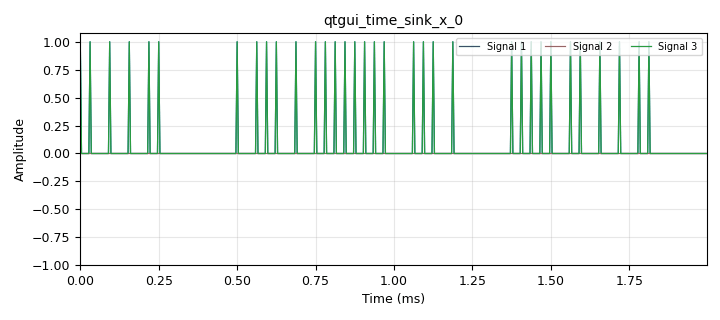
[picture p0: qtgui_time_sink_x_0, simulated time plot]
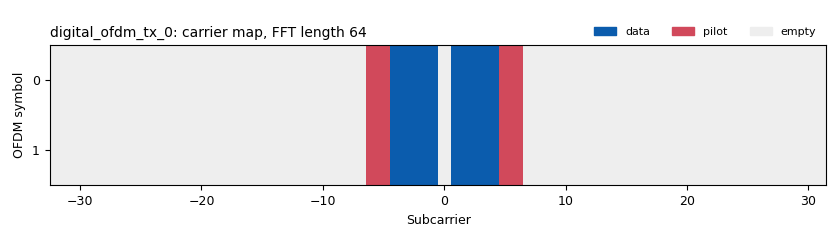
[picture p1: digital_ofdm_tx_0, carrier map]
options:
  parameters:
    description: OFDM Loopback Measurement
    generate_options: qt_gui
    id: OFDM_loopback_BER
    output_language: python
    title: OFDM_loopback_BER
  states: {}

blocks:
- name: delay
  id: variable_qtgui_range
  parameters:
    label: Delay
    start: '0'
    step: '1'
    stop: 1e3
    value: '100'
  states: {}
- name: fft_len
  id: variable
  parameters:
    value: '64'
  states: {}
- name: freq_offset
  id: variable_qtgui_range
  parameters:
    label: Frequency Offset
    start: '-100e-3'
    step: '1e-3'
    stop: '100e-3'
    value: '0'
  states: {}
- name: len_tag_key
  id: variable
  parameters:
    value: '"packet_len"'
  states: {}
- name: noise_volt
  id: variable_qtgui_range
  parameters:
    label: Noise Voltage
    start: '0'
    step: '10e-3'
    stop: '1'
    value: '0'
  states: {}
- name: packet_len
  id: variable
  parameters:
    value: '50'
  states: {}
- name: samp_rate
  id: variable
  parameters:
    value: 256e3
  states: {}
- name: taps
  id: variable
  parameters:
    value: '1'
  states: {}
- name: time_offset
  id: variable_qtgui_range
  parameters:
    label: Timing Offset
    start: '999e-3'
    step: '100e-6'
    stop: '1001e-3'
    value: '1'
  states: {}
- name: analog_random_source_x_0
  id: analog_random_source_x
  parameters:
    max: '2'
    min: '0'
    num_samps: packet_len
    repeat: 'True'
    type: byte
  states: {}
- name: blocks_delay_0
  id: blocks_delay
  parameters:
    delay: delay
    type: byte
  states: {}
- name: blocks_repack_bits_bb_0
  id: blocks_repack_bits_bb
  parameters:
    endianness: gr.GR_LSB_FIRST
    k: '8'
    l: '1'
  states: {}
- name: blocks_repack_bits_bb_1
  id: blocks_repack_bits_bb
  parameters:
    endianness: gr.GR_LSB_FIRST
    k: '8'
    l: '1'
  states: {}
- name: blocks_stream_to_tagged_stream_0
  id: blocks_stream_to_tagged_stream
  parameters:
    len_tag_key: len_tag_key
    packet_len: '50'
    type: byte
  states: {}
- name: blocks_sub_xx_0
  id: blocks_sub_xx
  parameters:
    type: float
  states: {}
- name: blocks_throttle2_0
  id: blocks_throttle2
  parameters:
    samples_per_second: samp_rate
    type: complex
  states: {}
- name: blocks_uchar_to_float_0
  id: blocks_uchar_to_float
  parameters: {}
  states: {}
- name: blocks_uchar_to_float_1
  id: blocks_uchar_to_float
  parameters: {}
  states: {}
- name: channels_channel_model_0
  id: channels_channel_model
  parameters:
    block_tags: 'True'
    epsilon: time_offset
    freq_offset: freq_offset * 1.0/fft_len
    noise_voltage: noise_volt
    seed: '0'
    taps: taps
  states: {}
- name: digital_ofdm_rx_0
  id: digital_ofdm_rx
  parameters:
    cp_len: fft_len//4
    fft_len: fft_len
    header_mod: '"BPSK"'
    occupied_carriers: ((-4,-3,-2,-1,1,2,3,4),)
    packet_len_key: '"rx_len"'
    payload_mod: '"QPSK"'
    pilot_carriers: ((-6,-5,5,6),)
    pilot_symbols: ((-1,1,-1,1),)
    sync_word1: None
    sync_word2: None
  states: {}
- name: digital_ofdm_tx_0
  id: digital_ofdm_tx
  parameters:
    cp_len: fft_len//4
    fft_len: fft_len
    header_mod: '"BPSK"'
    occupied_carriers: ((-4,-3,-2,-1,1,2,3,4),)
    packet_len_key: len_tag_key
    payload_mod: '"QPSK"'
    pilot_carriers: ((-6,-5,5,6),)
    pilot_symbols: ((-1,1,-1,1),)
    rolloff: '0'
    sync_word1: None
    sync_word2: None
  states: {}
- name: fec_ber_bf_0
  id: fec_ber_bf
  parameters:
    test_mode: 'False'
  states: {}
- name: qtgui_number_sink_0
  id: qtgui_number_sink
  parameters:
    autoscale: 'True'
    graph_type: qtgui.NUM_GRAPH_HORIZ
    name: BER
    type: float
  states: {}
- name: qtgui_time_sink_x_0
  id: qtgui_time_sink_x
  parameters:
    ctrlpanel: 'True'
    nconnections: '3'
    size: '512'
    srate: samp_rate
    type: float
  states: {}
- name: virtual_sink_0
  id: virtual_sink
  parameters:
    stream_id: t1
  states: {}
- name: virtual_sink_1
  id: virtual_sink
  parameters:
    stream_id: t2
  states: {}
- name: virtual_source_0
  id: virtual_source
  parameters:
    stream_id: t2
  states: {}
- name: virtual_source_1
  id: virtual_source
  parameters:
    stream_id: t1
  states: {}

connections:
- [analog_random_source_x_0, '0', blocks_stream_to_tagged_stream_0, '0']
- [analog_random_source_x_0, '0', virtual_sink_0, '0']
- [blocks_delay_0, '0', blocks_repack_bits_bb_1, '0']
- [blocks_delay_0, '0', fec_ber_bf_0, '1']
- [blocks_repack_bits_bb_0, '0', blocks_uchar_to_float_0, '0']
- [blocks_repack_bits_bb_1, '0', blocks_uchar_to_float_1, '0']
- [blocks_stream_to_tagged_stream_0, '0', digital_ofdm_tx_0, '0']
- [blocks_sub_xx_0, '0', qtgui_time_sink_x_0, '1']
- [blocks_throttle2_0, '0', channels_channel_model_0, '0']
- [blocks_uchar_to_float_0, '0', blocks_sub_xx_0, '0']
- [blocks_uchar_to_float_0, '0', qtgui_time_sink_x_0, '0']
- [blocks_uchar_to_float_1, '0', blocks_sub_xx_0, '1']
- [blocks_uchar_to_float_1, '0', qtgui_time_sink_x_0, '2']
- [channels_channel_model_0, '0', virtual_sink_1, '0']
- [digital_ofdm_rx_0, '0', blocks_repack_bits_bb_0, '0']
- [digital_ofdm_rx_0, '0', fec_ber_bf_0, '0']
- [digital_ofdm_tx_0, '0', blocks_throttle2_0, '0']
- [fec_ber_bf_0, '0', qtgui_number_sink_0, '0']
- [virtual_source_0, '0', digital_ofdm_rx_0, '0']
- [virtual_source_1, '0', blocks_delay_0, '0']

metadata:
  file_format: 1
  grc_version: 3.10.9.2
